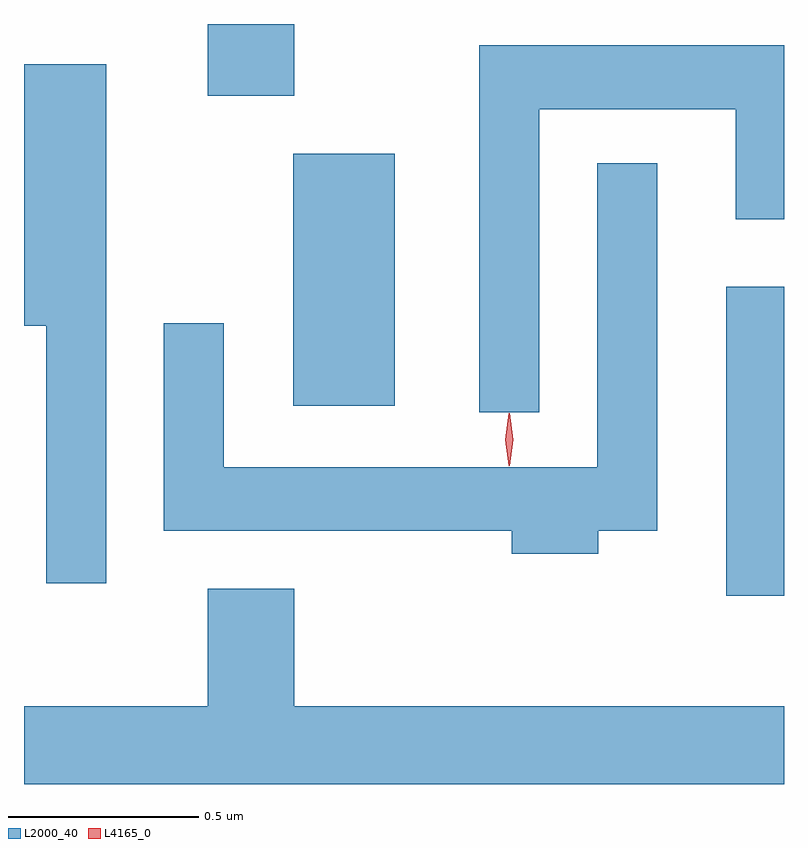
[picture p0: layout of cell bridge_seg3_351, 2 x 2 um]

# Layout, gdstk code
import gdstk
lib = gdstk.Library(unit=1e-6, precision=1e-09)
def R(c, l, rs):  # rectangles x0, y0, x1, y1
    for r in rs: c.add(gdstk.rectangle(r[:2], r[2:], *l))
def P(c, l, *ps):  # polygons
    for p in ps: c.add(gdstk.Polygon(p, *l))
L2000_40 = (2000, 40)
L4165_0 = (4165, 0)

bridge_seg3_351 = lib.new_cell('bridge_seg3_351')
R(bridge_seg3_351, L2000_40, [(542.006,1126.576,542.158,1127.389), (540.866,1127.076,541.134,1127.739), (540.641,1127.891,540.869,1128.08)])
P(bridge_seg3_351, L2000_40, [(541.514,1127.856),(542.031,1127.856),(542.031,1127.566),(542.158,1127.566),(542.158,1128.024),(541.356,1128.024),(541.356,1127.058),(541.514,1127.058)],
  [(540.374,1127.974),(540.158,1127.974),(540.158,1127.286),(540.216,1127.286),(540.216,1126.608),(540.374,1126.608)],
  [(541.669,1126.746),(541.824,1126.746),(541.824,1127.713),(541.666,1127.713),(541.666,1126.914),(540.684,1126.914),(540.684,1127.293),(540.526,1127.293),(540.526,1126.746),(541.441,1126.746),(541.441,1126.686),(541.669,1126.686)],
  [(542.158,1126.284),(540.869,1126.284),(540.869,1126.594),(540.641,1126.594),(540.641,1126.284),(540.158,1126.284),(540.158,1126.08),(542.158,1126.08)])
P(bridge_seg3_351, L4165_0, [(541.435,1126.919),(541.434,1126.92),(541.425,1126.986),(541.434,1127.052),(541.435,1127.053),(541.435,1127.052),(541.445,1126.986),(541.435,1126.92)],
  [(541.435,1126.917),(541.434,1126.918),(541.425,1126.986),(541.434,1127.056),(541.435,1127.056),(541.436,1127.056),(541.445,1126.986),(541.436,1126.918)])

lib.write_gds('bridge_seg3_351.gds')
